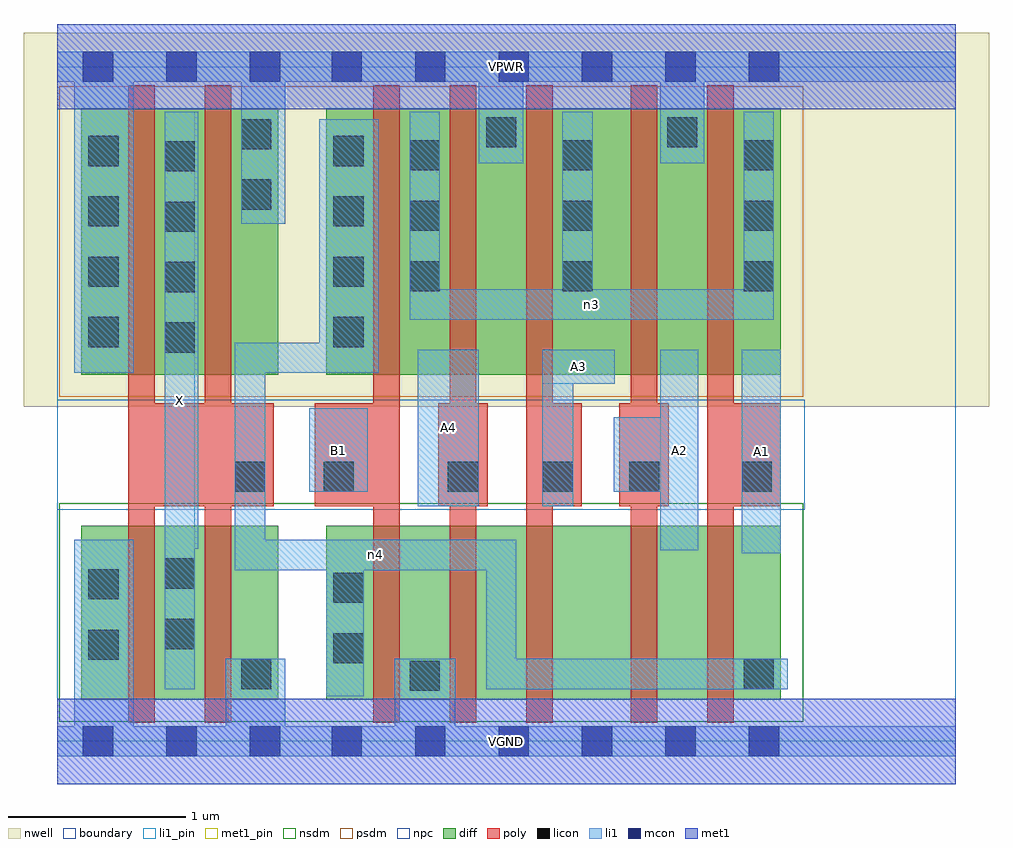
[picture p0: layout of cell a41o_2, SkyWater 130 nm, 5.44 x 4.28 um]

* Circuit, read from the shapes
.subckt a41o_2 A1 A2 A3 A4 B1 VGND VPWR X n3 n4
XM1 X n4 VGND VSUBS sky130_fd_pr__nfet_01v8 w=0.98 l=0.15 m=2
XM2 VGND B1 n4 VSUBS sky130_fd_pr__nfet_01v8 w=0.98 l=0.15
XM3 n1 A4 VGND VSUBS sky130_fd_pr__nfet_01v8 w=0.98 l=0.15
XM4 n2 A3 n1 VSUBS sky130_fd_pr__nfet_01v8 w=0.98 l=0.15
XM5 n5 A2 n2 VSUBS sky130_fd_pr__nfet_01v8 w=0.98 l=0.15
XM6 n4 A1 n5 VSUBS sky130_fd_pr__nfet_01v8 w=0.98 l=0.15
XM7 X n4 VPWR n6 sky130_fd_pr__pfet_01v8 w=1.5 l=0.15 m=2
XM8 n3 B1 n4 n6 sky130_fd_pr__pfet_01v8 w=1.5 l=0.15
XM9 VPWR A4 n3 n6 sky130_fd_pr__pfet_01v8 w=1.5 l=0.15
XM10 n3 A3 VPWR n6 sky130_fd_pr__pfet_01v8 w=1.5 l=0.15
XM11 VPWR A2 n3 n6 sky130_fd_pr__pfet_01v8 w=1.5 l=0.15
XM12 n3 A1 VPWR n6 sky130_fd_pr__pfet_01v8 w=1.5 l=0.15
.ends

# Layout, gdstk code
import gdstk
lib = gdstk.Library(unit=1e-6, precision=1e-09)
def R(c, l, rs):  # rectangles x0, y0, x1, y1
    for r in rs: c.add(gdstk.rectangle(r[:2], r[2:], *l))
def A(c, l, x, y, w, h, nx, ny, dx, dy):  # array of equal rectangles
    R(c, l, [(x+i*dx, y+j*dy, x+i*dx+w, y+j*dy+h) for i in range(nx) for j in range(ny)])
nwell = (64, 20)
diff = (65, 20)
poly = (66, 20)
licon = (66, 44)
li1_pin = (67, 16)
li1 = (67, 20)
mcon = (67, 44)
met1_pin = (68, 16)
met1 = (68, 20)
nsdm = (93, 44)
psdm = (94, 20)
npc = (95, 20)
boundary = (235, 4)

a41o_2 = lib.new_cell('a41o_2')
R(a41o_2, nwell, [(-0.19,1.885,5.25,3.99), (0,1.885,5.06,3.99)])
R(a41o_2, diff, [(0.135,0.235,1.245,1.215), (1.515,0.235,4.075,1.215), (0.135,2.065,1.245,3.565), (1.515,2.065,4.075,3.565)])
A(a41o_2, poly, 1.78, 0.105, 0.15, 3.59, 3, 1, 0.43, 0)
R(a41o_2, poly, [(0.4,0.105,0.55,3.695), (0.83,0.105,0.98,3.695), (3.23,0.105,3.38,3.695), (3.66,0.105,3.81,3.695), (0.4,1.325,1.22,1.905), (1.45,1.325,1.93,1.905), (2.145,1.325,2.425,1.905), (2.64,1.325,2.955,1.905), (3.165,1.325,3.445,1.905), (3.66,1.325,4.075,1.905)])
A(a41o_2, licon, 0.605, 2.19, 0.17, 0.17, 1, 4, 0, 0.34)
A(a41o_2, licon, 0.175, 2.22, 0.17, 0.17, 1, 4, 0, 0.34)
A(a41o_2, licon, 1.555, 2.22, 0.17, 0.17, 1, 4, 0, 0.34)
A(a41o_2, licon, 1.985, 2.535, 0.17, 0.17, 1, 3, 0, 0.34)
A(a41o_2, licon, 2.845, 2.535, 0.17, 0.17, 1, 3, 0, 0.34)
A(a41o_2, licon, 3.865, 2.535, 0.17, 0.17, 1, 3, 0, 0.34)
R(a41o_2, licon, [(1.985,0.285,2.155,0.455), (1.035,0.295,1.205,0.465), (3.865,0.295,4.035,0.465), (1.555,0.44,1.725,0.61), (0.175,0.46,0.345,0.63), (0.605,0.52,0.775,0.69), (1.555,0.78,1.725,0.95), (0.175,0.8,0.345,0.97), (0.605,0.86,0.775,1.03), (1,1.405,1.17,1.575), (1.5,1.405,1.67,1.575), (2.2,1.405,2.37,1.575), (2.735,1.405,2.905,1.575), (3.22,1.405,3.39,1.575), (3.855,1.405,4.025,1.575), (1.035,2.995,1.205,3.165), (1.035,3.335,1.205,3.505), (2.415,3.345,2.585,3.515), (3.435,3.345,3.605,3.515)])
R(a41o_2, li1_pin, [(0.605,0.295,0.775,3.545), (3.855,1.06,4.075,2.205), (3.395,1.075,3.61,2.205), (2.03,1.325,2.375,2.205), (1.42,1.405,1.75,1.875), (2.73,2.015,3.14,2.205)])
R(a41o_2, li1, [(0,-0.085,5.06,0.085), (0.095,-0.085,0.43,1.135), (0.95,-0.085,1.285,0.465), (1.9,-0.085,2.24,0.465), (1.515,0.255,1.725,1.135), (0.605,0.295,0.775,3.545), (2.415,0.295,4.115,0.465), (2.415,0.295,2.585,1.135), (1,0.965,2.585,1.135), (1,0.965,1.17,2.245), (3.855,1.06,4.075,2.205), (3.395,1.075,3.61,2.205), (0.605,1.085,0.795,3.545), (2.03,1.325,2.375,2.205), (2.73,1.325,2.905,2.205), (1.42,1.405,1.75,1.875), (3.135,1.405,3.61,1.825), (2.73,2.015,3.14,2.205), (0.095,2.075,0.43,3.885), (1,2.075,1.81,2.245), (1.475,2.075,1.81,3.505), (1.985,2.375,4.035,2.545), (1.985,2.375,2.155,3.545), (2.845,2.375,3.015,3.545), (3.865,2.375,4.035,3.545), (1.035,2.915,1.285,3.885), (2.375,3.255,2.625,3.885), (3.395,3.255,3.645,3.885), (0,3.715,5.06,3.885)])
A(a41o_2, mcon, 0.145, -0.085, 0.17, 0.17, 3, 2, 0.47, 3.8)
A(a41o_2, mcon, 1.545, -0.085, 0.17, 0.17, 6, 2, 0.47, 3.8)
R(a41o_2, met1_pin, [(0,-0.24,5.06,0.24), (0,3.56,5.06,4.04)])
R(a41o_2, met1, [(0,-0.24,5.06,0.24), (0,3.56,5.06,4.04)])
R(a41o_2, nsdm, [(0.01,0.11,4.2,1.34)])
R(a41o_2, psdm, [(0.01,1.94,4.2,3.69)])
R(a41o_2, npc, [(0,1.305,4.21,1.925)])
R(a41o_2, boundary, [(0,0,5.06,3.8)])
a41o_2.add(gdstk.Label('A1', (3.965,1.632), layer=67, texttype=5))
a41o_2.add(gdstk.Label('A2', (3.502,1.64), layer=67, texttype=5))
a41o_2.add(gdstk.Label('A3', (2.935,2.11), layer=67, texttype=5))
a41o_2.add(gdstk.Label('A4', (2.202,1.765), layer=67, texttype=5))
a41o_2.add(gdstk.Label('B1', (1.585,1.64), layer=67, texttype=5))
a41o_2.add(gdstk.Label('X', (0.69,1.92), layer=67, texttype=5))
a41o_2.add(gdstk.Label('n4', (1.792,1.05), layer=67, texttype=5))
a41o_2.add(gdstk.Label('n3', (3.01,2.46), layer=67, texttype=5))
a41o_2.add(gdstk.Label('VPWR', (2.53,3.8), layer=68, texttype=5))
a41o_2.add(gdstk.Label('VGND', (2.53,0), layer=68, texttype=5))
a41o_2.add(gdstk.Label('A1', (3.965,1.632), layer=67, texttype=16))
a41o_2.add(gdstk.Label('A2', (3.502,1.64), layer=67, texttype=16))
a41o_2.add(gdstk.Label('A3', (2.935,2.11), layer=67, texttype=16))
a41o_2.add(gdstk.Label('A4', (2.202,1.765), layer=67, texttype=16))
a41o_2.add(gdstk.Label('B1', (1.585,1.64), layer=67, texttype=16))
a41o_2.add(gdstk.Label('X', (0.69,1.92), layer=67, texttype=16))
a41o_2.add(gdstk.Label('VPWR', (2.53,3.8), layer=68, texttype=16))
a41o_2.add(gdstk.Label('VGND', (2.53,0), layer=68, texttype=16))

lib.write_gds('a41o_2.gds')
